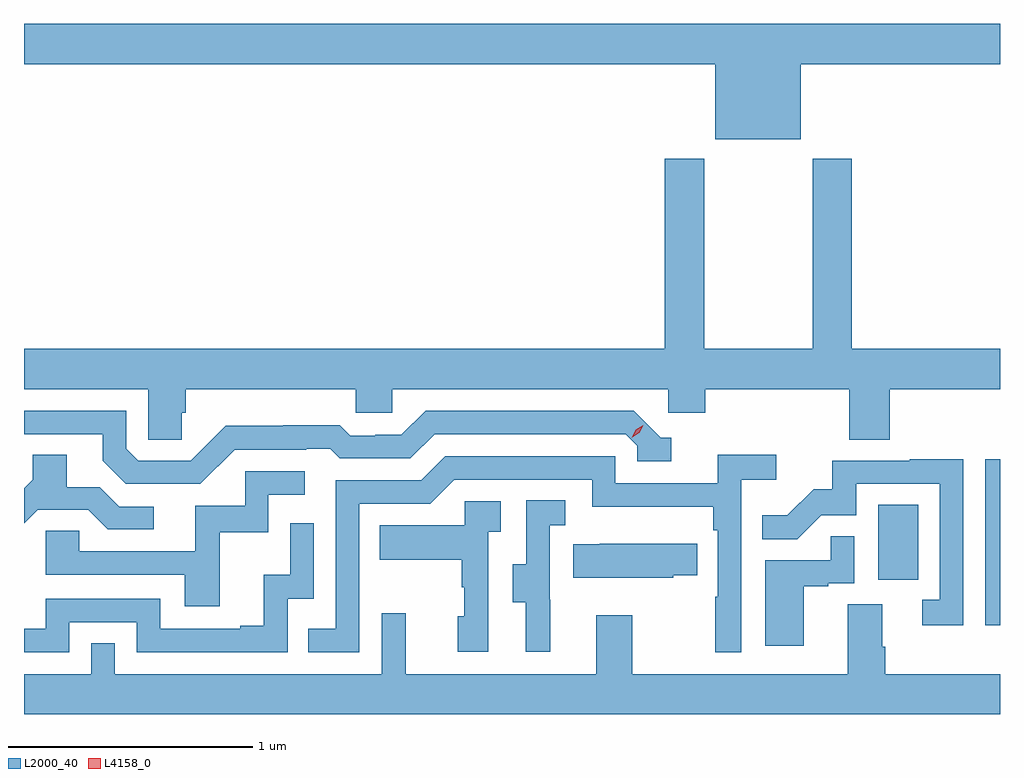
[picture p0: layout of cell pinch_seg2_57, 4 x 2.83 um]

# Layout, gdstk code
import gdstk
lib = gdstk.Library(unit=1e-6, precision=1e-09)
def R(c, l, rs):  # rectangles x0, y0, x1, y1
    for r in rs: c.add(gdstk.rectangle(r[:2], r[2:], *l))
def P(c, l, *ps):  # polygons
    for p in ps: c.add(gdstk.Polygon(p, *l))
L2000_40 = (2000, 40)
L4158_0 = (4158, 0)

pinch_seg2_57 = lib.new_cell('pinch_seg2_57')
R(pinch_seg2_57, L2000_40, [(1027.827,662.652,1027.888,663.332), (1027.388,662.838,1027.552,663.145)])
P(pinch_seg2_57, L2000_40, [(1027.072,664.952),(1027.888,664.952),(1027.888,665.116),(1023.888,665.116),(1023.888,664.952),(1026.722,664.952),(1026.722,664.643),(1027.072,664.643)],
  [(1026.515,663.784),(1023.888,663.784),(1023.888,663.62),(1024.398,663.62),(1024.398,663.412),(1024.535,663.412),(1024.535,663.522),(1024.55,663.522),(1024.55,663.62),(1025.247,663.62),(1025.247,663.522),(1025.397,663.522),(1025.397,663.62),(1026.528,663.62),(1026.528,663.522),(1026.68,663.522),(1026.68,663.62),(1027.271,663.62),(1027.271,663.412),(1027.436,663.412),(1027.436,663.62),(1027.888,663.62),(1027.888,663.784),(1027.28,663.784),(1027.28,664.564),(1027.12,664.564),(1027.12,663.784),(1026.675,663.784),(1026.675,664.564),(1026.515,664.564)],
  [(1024.752,663.372),(1025.045,663.372),(1025.045,663.375),(1025.144,663.375),(1025.183,663.336),(1025.472,663.336),(1025.571,663.435),(1026.354,663.435),(1026.402,663.387),(1026.402,663.324),(1026.541,663.324),(1026.541,663.42),(1026.498,663.42),(1026.387,663.531),(1025.534,663.531),(1025.435,663.432),(1025.328,663.432),(1025.328,663.429),(1025.225,663.429),(1025.183,663.472),(1024.95,663.472),(1024.95,663.469),(1024.714,663.469),(1024.572,663.327),(1024.356,663.327),(1024.308,663.375),(1024.308,663.531),(1023.888,663.531),(1023.888,663.435),(1024.211,663.435),(1024.211,663.325),(1024.305,663.231),(1024.611,663.231)],
  [(1024.42,663.138),(1024.278,663.138),(1024.198,663.218),(1024.063,663.218),(1024.063,663.35),(1023.923,663.35),(1023.923,663.248),(1023.888,663.213),(1023.888,663.069),(1023.945,663.126),(1024.151,663.126),(1024.232,663.045),(1024.42,663.045)],
  [(1025.262,663.15),(1025.553,663.15),(1025.652,663.249),(1026.216,663.249),(1026.216,663.137),(1026.712,663.137),(1026.712,663.041),(1026.732,663.041),(1026.732,662.768),(1026.72,662.768),(1026.72,662.541),(1026.828,662.541),(1026.828,663.248),(1026.97,663.248),(1026.97,663.35),(1026.731,663.35),(1026.731,663.234),(1026.312,663.234),(1026.312,663.345),(1025.615,663.345),(1025.516,663.246),(1025.166,663.246),(1025.166,662.637),(1025.053,662.637),(1025.053,662.541),(1025.262,662.541)],
  [(1027.737,663.332),(1027.519,663.332),(1027.519,663.327),(1027.201,663.327),(1027.201,663.21),(1027.124,663.21),(1027.017,663.103),(1026.913,663.103),(1026.913,663.004),(1027.057,663.004),(1027.155,663.102),(1027.299,663.102),(1027.299,663.231),(1027.641,663.231),(1027.641,662.757),(1027.569,662.757),(1027.569,662.652),(1027.737,662.652)],
  [(1024.691,663.033),(1024.89,663.033),(1024.89,663.186),(1025.038,663.186),(1025.038,663.282),(1024.794,663.282),(1024.794,663.141),(1024.589,663.141),(1024.589,662.955),(1024.115,662.955),(1024.115,663.039),(1023.978,663.039),(1023.978,662.859),(1024.547,662.859),(1024.547,662.73),(1024.691,662.73)],
  [(1026.044,662.757),(1026.042,662.757),(1026.042,663.061),(1026.106,663.061),(1026.106,663.164),(1025.946,663.164),(1025.946,662.901),(1025.891,662.901),(1025.891,662.746),(1025.945,662.746),(1025.945,662.544),(1026.044,662.544)],
  [(1025.79,663.035),(1025.842,663.035),(1025.842,663.159),(1025.694,663.159),(1025.694,663.061),(1025.347,663.061),(1025.347,662.921),(1025.682,662.921),(1025.682,662.807),(1025.692,662.807),(1025.692,662.688),(1025.666,662.688),(1025.666,662.544),(1025.79,662.544)],
  [(1024.074,662.664),(1024.35,662.664),(1024.35,662.541),(1024.968,662.541),(1024.968,662.76),(1025.076,662.76),(1025.076,663.07),(1024.98,663.07),(1024.98,662.858),(1024.871,662.858),(1024.871,662.65),(1024.775,662.65),(1024.775,662.637),(1024.446,662.637),(1024.446,662.76),(1023.978,662.76),(1023.978,662.637),(1023.888,662.637),(1023.888,662.541),(1024.074,662.541)],
  [(1027.084,662.811),(1027.184,662.811),(1027.184,662.823),(1027.29,662.823),(1027.29,663.017),(1027.195,663.017),(1027.195,662.919),(1026.926,662.919),(1026.926,662.568),(1027.084,662.568)],
  [(1026.549,662.857),(1026.647,662.857),(1026.647,662.986),(1026.247,662.986),(1026.247,662.983),(1026.139,662.983),(1026.139,662.846),(1026.549,662.846)],
  [(1027.888,662.452),(1027.418,662.452),(1027.418,662.564),(1027.405,662.564),(1027.405,662.738),(1027.265,662.738),(1027.265,662.452),(1026.381,662.452),(1026.381,662.692),(1026.233,662.692),(1026.233,662.452),(1025.453,662.452),(1025.453,662.701),(1025.355,662.701),(1025.355,662.452),(1024.26,662.452),(1024.26,662.579),(1024.164,662.579),(1024.164,662.452),(1023.888,662.452),(1023.888,662.288),(1027.888,662.288)])
P(pinch_seg2_57, L4158_0, [(1026.379,663.42),(1026.379,663.421),(1026.395,663.453),(1026.425,663.472),(1026.425,663.472),(1026.425,663.472),(1026.41,663.44),(1026.379,663.42)])

lib.write_gds('pinch_seg2_57.gds')
